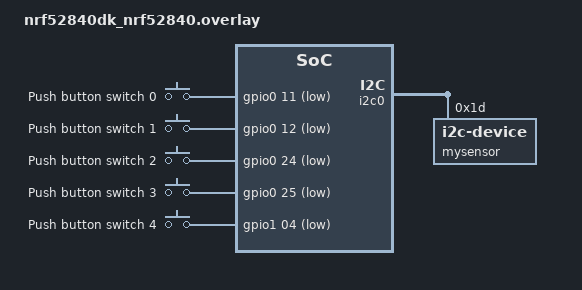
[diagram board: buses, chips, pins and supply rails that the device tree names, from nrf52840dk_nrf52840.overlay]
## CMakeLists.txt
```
#
# Copyright (c) 2019 Nordic Semiconductor ASA
#
# SPDX-License-Identifier: LicenseRef-Nordic-5-Clause
#
cmake_minimum_required(VERSION 3.20.0)

find_package(Zephyr REQUIRED HINTS $ENV{ZEPHYR_BASE})
project(NONE)

FILE(GLOB app_sources src/*.c)
# NORDIC SDK APP START
target_sources(app PRIVATE 
        src/main.c
        src/accelerometer.c)
# NORDIC SDK APP END

zephyr_library_include_directories(${ZEPHYR_BASE}/samples/bluetooth)
```

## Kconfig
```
#
# Copyright (c) 2018 Nordic Semiconductor
#
# SPDX-License-Identifier: LicenseRef-Nordic-5-Clause
#

source "Kconfig.zephyr"

menu "Nordic BLE HIDS Keyboard sample"

config NFC_OOB_PAIRING
	bool "Enable NFC OOB pairing"
	depends on HAS_HW_NRF_NFCT
	default y
	select NFC_T2T_NRFXLIB
	select NFC_NDEF
	select NFC_NDEF_MSG
	select NFC_NDEF_RECORD
	select NFC_NDEF_LE_OOB_REC

endmenu
```

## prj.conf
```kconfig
#
# Copyright (c) 2019 Nordic Semiconductor ASA
#
# SPDX-License-Identifier: LicenseRef-Nordic-5-Clause
#
CONFIG_NCS_SAMPLES_DEFAULTS=y

CONFIG_BT=y
CONFIG_BT_DEBUG_LOG=y
CONFIG_BT_MAX_CONN=2
CONFIG_BT_MAX_PAIRED=2
CONFIG_BT_SMP=y
CONFIG_BT_L2CAP_TX_BUF_COUNT=5
CONFIG_BT_PERIPHERAL=y
CONFIG_BT_DEVICE_NAME="Nordic_HIDS_mouse"
CONFIG_BT_DEVICE_APPEARANCE=962

CONFIG_BT_BAS=y
CONFIG_BT_HIDS=y
CONFIG_BT_HIDS_MAX_CLIENT_COUNT=2
CONFIG_BT_HIDS_DEFAULT_PERM_RW_ENCRYPT=y
CONFIG_BT_GATT_UUID16_POOL_SIZE=40
CONFIG_BT_GATT_CHRC_POOL_SIZE=20

CONFIG_BT_CONN_CTX=y

CONFIG_BT_DIS=y
CONFIG_BT_DIS_PNP=y
CONFIG_BT_DIS_MANUF="NordicSemiconductor"
CONFIG_BT_DIS_PNP_VID_SRC=2
CONFIG_BT_DIS_PNP_VID=0x1915
CONFIG_BT_DIS_PNP_PID=0xEEEE
CONFIG_BT_DIS_PNP_VER=0x0100

CONFIG_MAIN_STACK_SIZE=1536
CONFIG_SYSTEM_WORKQUEUE_STACK_SIZE=2048

CONFIG_BT_SETTINGS=y
CONFIG_FLASH=y
CONFIG_FLASH_PAGE_LAYOUT=y
CONFIG_FLASH_MAP=y
CONFIG_NVS=y
CONFIG_SETTINGS=y

CONFIG_DK_LIBRARY=y

# Additional setting for nRF5340 when building with CONFIG_BT_RPC_STACK=y
CONFIG_NRF_RPC_THREAD_STACK_SIZE=1280
# STEP 2 - Enable the I2C driver
CONFIG_I2C=y
# STEP 4.2 - Enable floating point format specifiers
CONFIG_CBPRINTF_FP_SUPPORT=y
```

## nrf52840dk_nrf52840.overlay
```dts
// To get started, press Ctrl+Space to bring up the completion menu and view the available nodes.

// You can also use the buttons in the sidebar to perform actions on nodes.
// Actions currently available include:

// * Enabling / disabling the node
// * Adding the bus to a bus
// * Removing the node
// * Connecting ADC channels

// For more help, browse the DeviceTree documentation at https://docs.zephyrproject.org/latest/guides/dts/index.html
// You can also visit the nRF DeviceTree extension documentation at https://nrfconnect.github.io/vscode-nrf-connect/devicetree/nrfdevicetree.html
&i2c0 {
    
    mysensor: mysensor@4a{
        compatible = "i2c-device";
        status = "okay";
        reg = < 0x1d >;
    };
};


/ {
    buttons {
        compatible = "gpio-keys";
        button0: button_0 {
            gpios = <&gpio0 11 ( GPIO_PULL_UP |GPIO_ACTIVE_LOW )>;
            label = "Push button switch 0";
        };
        button1: button_1 {
            gpios = <&gpio0 12 (GPIO_PULL_UP | GPIO_ACTIVE_LOW)>;
            label = "Push button switch 1";
        };
        button2: button_2 {
            gpios = <&gpio0  24 (GPIO_PULL_UP | GPIO_ACTIVE_LOW)>;
            label = "Push button switch 2";
        };
        button3: button_3 {
            gpios = <&gpio0 25 (GPIO_PULL_UP | GPIO_ACTIVE_LOW)>;
            label = "Push button switch 3";
        };
    };

    keypad {
        compatible = "gpio-keys";
        button4: button_4 {
            gpios = <&gpio1 04 (GPIO_PULL_UP | GPIO_ACTIVE_LOW)>;
            label = "Push button switch 4";
        };
    };
    /* These aliases are provided for compatibility with samples */
    aliases {
        led0 = &led0;
        led1 = &led1;
        led2 = &led2;
        led3 = &led3;
        pwm-led0 = &pwm_led0;
        sw0 = &button0;
        sw1 = &button1;
        sw2 = &button2;
        sw3 = &button3;
        sw4 = &button4;
        bootloader-led0 = &led0;
        mcuboot-button0 = &button0;
        mcuboot-led0 = &led0;
        watchdog0 = &wdt0;
        spi-flash0 = &mx25r64;
    };
};
```

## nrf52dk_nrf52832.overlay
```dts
// To get started, press Ctrl+Space to bring up the completion menu and view the available nodes.

// You can also use the buttons in the sidebar to perform actions on nodes.
// Actions currently available include:

// * Enabling / disabling the node
// * Adding the bus to a bus
// * Removing the node
// * Connecting ADC channels

// For more help, browse the DeviceTree documentation at https://docs.zephyrproject.org/latest/guides/dts/index.html
// You can also visit the nRF DeviceTree extension documentation at https://nrfconnect.github.io/vscode-nrf-connect/devicetree/nrfdevicetree.html
&i2c0 {
    
    mysensor: mysensor@4a{
        compatible = "i2c-device";
        status = "okay";
        reg = < 0x1d >;
    };
};
```

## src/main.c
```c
/*
 * Copyright (c) 2018 Nordic Semiconductor ASA
 *
 * SPDX-License-Identifier: LicenseRef-Nordic-5-Clause
 */

#include <zephyr/types.h>
#include <stddef.h>
#include <string.h>
#include <errno.h>
#include <zephyr/sys/printk.h>
#include <zephyr/sys/byteorder.h>
#include <zephyr/kernel.h>
#include <zephyr/drivers/gpio.h>
#include <soc.h>
#include <assert.h>

#include <zephyr/settings/settings.h>

#include <zephyr/bluetooth/bluetooth.h>
#include <zephyr/bluetooth/hci.h>
#include <zephyr/bluetooth/conn.h>
#include <zephyr/bluetooth/uuid.h>
#include <zephyr/bluetooth/gatt.h>

#include <zephyr/bluetooth/services/bas.h>
#include <bluetooth/services/hids.h>
#include <zephyr/bluetooth/services/dis.h>
#include <dk_buttons_and_leds.h>
#include <stdlib.h>

#define DEVICE_NAME CONFIG_BT_DEVICE_NAME
#define DEVICE_NAME_LEN (sizeof(DEVICE_NAME) - 1)

#define BASE_USB_HID_SPEC_VERSION 0x0101

/* Number of pixels by which the cursor is moved when a button is pushed. */
#define MOVEMENT_SPEED 5
/* Number of input reports in this application. */
#define INPUT_REPORT_COUNT 3
/* Length of Mouse Input Report containing button data. */
#define INPUT_REP_BUTTONS_LEN 3
/* Length of Mouse Input Report containing movement data. */
#define INPUT_REP_MOVEMENT_LEN 3
/* Length of Mouse Input Report containing media player data. */
#define INPUT_REP_MEDIA_PLAYER_LEN 1
/* Index of Mouse Input Report containing button data. */
#define INPUT_REP_BUTTONS_INDEX 0
/* Index of Mouse Input Report containing movement data. */
#define INPUT_REP_MOVEMENT_INDEX 1
/* Index of Mouse Input Report containing media player data. */
#define INPUT_REP_MPLAYER_INDEX 2
/* Id of reference to Mouse Input Report containing button data. */
#define INPUT_REP_REF_BUTTONS_ID 1
/* Id of reference to Mouse Input Report containing movement data. */
#define INPUT_REP_REF_MOVEMENT_ID 2
/* Id of reference to Mouse Input Report containing media player data. */
#define INPUT_REP_REF_MPLAYER_ID 3

/* HIDs queue size. */
#define HIDS_QUEUE_SIZE 100

/* Key used to move cursor left */
#define KEY_LEFT_MASK DK_BTN1_MSK
/* Key used to move cursor up */
#define KEY_UP_MASK DK_BTN2_MSK
/* Key used to move cursor right */
#define KEY_RIGHT_MASK DK_BTN3_MSK
/* Key used to move cursor down */
#define KEY_DOWN_MASK DK_BTN4_MSK

/* Key used to accept or reject passkey value */
#define KEY_PAIRING_ACCEPT DK_BTN1_MSK
#define KEY_PAIRING_REJECT DK_BTN2_MSK

uint16_t x_axis;
uint16_t y_axis;

uint16_t x_value;
uint16_t y_value;

bool right;
bool left;
bool up;
bool down;

// extern int flag ;
int16_t x_val_def;
int16_t y_val_def;



/* HIDS instance. */
BT_HIDS_DEF(hids_obj,
			INPUT_REP_BUTTONS_LEN,
			INPUT_REP_MOVEMENT_LEN,
			INPUT_REP_MEDIA_PLAYER_LEN);

static struct k_work hids_work;
struct mouse_pos
{
	int16_t x_val;
	int16_t y_val;
};

/* Mouse movement queue. */
K_MSGQ_DEFINE(hids_queue,
			  sizeof(struct mouse_pos),
			  HIDS_QUEUE_SIZE,
			  4);

#if CONFIG_BT_DIRECTED_ADVERTISING
/* Bonded address queue. */
K_MSGQ_DEFINE(bonds_queue,
			  sizeof(bt_addr_le_t),
			  CONFIG_BT_MAX_PAIRED,
			  4);
#endif

static const struct bt_data ad[] = {
	BT_DATA_BYTES(BT_DATA_GAP_APPEARANCE,
				  (CONFIG_BT_DEVICE_APPEARANCE >> 0) & 0xff,
				  (CONFIG_BT_DEVICE_APPEARANCE >> 8) & 0xff),
	BT_DATA_BYTES(BT_DATA_FLAGS, (BT_LE_AD_GENERAL | BT_LE_AD_NO_BREDR)),
	BT_DATA_BYTES(BT_DATA_UUID16_ALL, BT_UUID_16_ENCODE(BT_UUID_HIDS_VAL),
				  BT_UUID_16_ENCODE(BT_UUID_BAS_VAL)),
};

static const struct bt_data sd[] = {
	BT_DATA(BT_DATA_NAME_COMPLETE, DEVICE_NAME, DEVICE_NAME_LEN),
};

static struct conn_mode
{
	struct bt_conn *conn;
	bool in_boot_mode;
} conn_mode[CONFIG_BT_HIDS_MAX_CLIENT_COUNT];

static struct k_work adv_work;

static struct k_work pairing_work;
struct pairing_data_mitm
{
	struct bt_conn *conn;
	unsigned int passkey;
};

K_MSGQ_DEFINE(mitm_queue,
			  sizeof(struct pairing_data_mitm),
			  CONFIG_BT_HIDS_MAX_CLIENT_COUNT,
			  4);

#if CONFIG_BT_DIRECTED_ADVERTISING
static void bond_find(const struct bt_bond_info *info, void *user_data)
{
	int err;

	/* Filter already connected peers. */
	for (size_t i = 0; i < CONFIG_BT_HIDS_MAX_CLIENT_COUNT; i++)
	{
		if (conn_mode[i].conn)
		{
			const bt_addr_le_t *dst =
				bt_conn_get_dst(conn_mode[i].conn);

			if (!bt_addr_le_cmp(&info->addr, dst))
			{
				return;
			}
		}
	}

	err = k_msgq_put(&bonds_queue, (void *)&info->addr, K_NO_WAIT);
	if (err)
	{
		printk("No space in the queue for the bond.\n");
	}
}
#endif

static void advertising_continue(void)
{
	struct bt_le_adv_param adv_param;

#if CONFIG_BT_DIRECTED_ADVERTISING
	bt_addr_le_t addr;

	if (!k_msgq_get(&bonds_queue, &addr, K_NO_WAIT))
	{
		char addr_buf[BT_ADDR_LE_STR_LEN];

		adv_param = *BT_LE_ADV_CONN_DIR(&addr);
		adv_param.options |= BT_LE_ADV_OPT_DIR_ADDR_RPA;

		int err = bt_le_adv_start(&adv_param, NULL, 0, NULL, 0);

		if (err)
		{
			printk("Directed advertising failed to start\n");
			return;
		}

		bt_addr_le_to_str(&addr, addr_buf, BT_ADDR_LE_STR_LEN);
		printk("Direct advertising to %s started\n", addr_buf);
	}
	else
#endif
	{
		int err;

		adv_param = *BT_LE_ADV_CONN;
		adv_param.options |= BT_LE_ADV_OPT_ONE_TIME;
		err = bt_le_adv_start(&adv_param, ad, ARRAY_SIZE(ad),
							  sd, ARRAY_SIZE(sd));
		if (err)
		{
			printk("Advertising failed to start (err %d)\n", err);
			return;
		}

		printk("Regular advertising started\n");
	}
}

static void advertising_start(void)
{
#if CONFIG_BT_DIRECTED_ADVERTISING
	k_msgq_purge(&bonds_queue);
	bt_foreach_bond(BT_ID_DEFAULT, bond_find, NULL);
#endif

	k_work_submit(&adv_work);
}

static void advertising_process(struct k_work *work)
{
	advertising_continue();
}

static void pairing_process(struct k_work *work)
{
	int err;
	struct pairing_data_mitm pairing_data;

	char addr[BT_ADDR_LE_STR_LEN];

	err = k_msgq_peek(&mitm_queue, &pairing_data);
	if (err)
	{
		return;
	}

	bt_addr_le_to_str(bt_conn_get_dst(pairing_data.conn),
					  addr, sizeof(addr));

	printk("Passkey for %s: %06u\n", addr, pairing_data.passkey);
	printk("Press Button 1 to confirm, Button 2 to reject.\n");
}

static void insert_conn_object(struct bt_conn *conn)
{
	for (size_t i = 0; i < CONFIG_BT_HIDS_MAX_CLIENT_COUNT; i++)
	{
		if (!conn_mode[i].conn)
		{
			conn_mode[i].conn = conn;
			conn_mode[i].in_boot_mode = false;

			return;
		}
	}

	printk("Connection object could not be inserted %p\n", conn);
}

static bool is_conn_slot_free(void)
{
	for (size_t i = 0; i < CONFIG_BT_HIDS_MAX_CLIENT_COUNT; i++)
	{
		if (!conn_mode[i].conn)
		{
			return true;
		}
	}

	return false;
}

static void connected(struct bt_conn *conn, uint8_t err)
{
	char addr[BT_ADDR_LE_STR_LEN];

	bt_addr_le_to_str(bt_conn_get_dst(conn), addr, sizeof(addr));

	if (err)
	{
		if (err == BT_HCI_ERR_ADV_TIMEOUT)
		{
			printk("Direct advertising to %s timed out\n", addr);
			k_work_submit(&adv_work);
		}
		else
		{
			printk("Failed to connect to %s (%u)\n", addr, err);
		}
		return;
	}

	printk("Connected %s\n", addr);

	err = bt_hids_connected(&hids_obj, conn);

	if (err)
	{
		printk("Failed to notify HID service about connection\n");
		return;
	}

	insert_conn_object(conn);

	if (is_conn_slot_free())
	{
		advertising_start();
	}
}

static void disconnected(struct bt_conn *conn, uint8_t reason)
{
	int err;
	char addr[BT_ADDR_LE_STR_LEN];

	bt_addr_le_to_str(bt_conn_get_dst(conn), addr, sizeof(addr));

	printk("Disconnected from %s (reason %u)\n", addr, reason);

	err = bt_hids_disconnected(&hids_obj, conn);

	if (err)
	{
		printk("Failed to notify HID service about disconnection\n");
	}

	for (size_t i = 0; i < CONFIG_BT_HIDS_MAX_CLIENT_COUNT; i++)
	{
		if (conn_mode[i].conn == conn)
		{
			conn_mode[i].conn = NULL;
			break;
		}
	}

	advertising_start();
}

#ifdef CONFIG_BT_HIDS_SECURITY_ENABLED
static void security_changed(struct bt_conn *conn, bt_security_t level,
							 enum bt_security_err err)
{
	char addr[BT_ADDR_LE_STR_LEN];

	bt_addr_le_to_str(bt_conn_get_dst(conn), addr, sizeof(addr));

	if (!err)
	{
		printk("Security changed: %s level %u\n", addr, level);
	}
	else
	{
		printk("Security failed: %s level %u err %d\n", addr, level,
			   err);
	}
}
#endif

BT_CONN_CB_DEFINE(conn_callbacks) = {
	.connected = connected,
	.disconnected = disconnected,
#ifdef CONFIG_BT_HIDS_SECURITY_ENABLED
	.security_changed = security_changed,
#endif
};

static void hids_pm_evt_handler(enum bt_hids_pm_evt evt,
								struct bt_conn *conn)
{
	char addr[BT_ADDR_LE_STR_LEN];
	size_t i;

	for (i = 0; i < CONFIG_BT_HIDS_MAX_CLIENT_COUNT; i++)
	{
		if (conn_mode[i].conn == conn)
		{
			break;
		}
	}

	if (i >= CONFIG_BT_HIDS_MAX_CLIENT_COUNT)
	{
		return;
	}

	bt_addr_le_to_str(bt_conn_get_dst(conn), addr, sizeof(addr));

	switch (evt)
	{
	case BT_HIDS_PM_EVT_BOOT_MODE_ENTERED:
		printk("Boot mode entered %s\n", addr);
		conn_mode[i].in_boot_mode = true;
		break;

	case BT_HIDS_PM_EVT_REPORT_MODE_ENTERED:
		printk("Report mode entered %s\n", addr);
		conn_mode[i].in_boot_mode = false;
		break;

	default:
		break;
	}
}

static void hid_init(void)
{
	int err;
	struct bt_hids_init_param hids_init_param = {0};
	struct bt_hids_inp_rep *hids_inp_rep;
	static const uint8_t mouse_movement_mask[ceiling_fraction(INPUT_REP_MOVEMENT_LEN, 8)] = {0};

	static const uint8_t report_map[] = {
		0x05, 0x01, /* Usage Page (Generic Desktop) */
		0x09, 0x02, /* Usage (Mouse) */

		0xA1, 0x01, /* Collection (Application) */

		/* Report ID 1: Mouse buttons + scroll/pan */
		0x85, 0x01,		  /* Report Id 1 */
		0x09, 0x01,		  /* Usage (Pointer) */
		0xA1, 0x00,		  /* Collection (Physical) */
		0x95, 0x05,		  /* Report Count (3) */
		0x75, 0x01,		  /* Report Size (1) */
		0x05, 0x09,		  /* Usage Page (Buttons) */
		0x19, 0x01,		  /* Usage Minimum (01) */
		0x29, 0x05,		  /* Usage Maximum (05) */
		0x15, 0x00,		  /* Logical Minimum (0) */
		0x25, 0x01,		  /* Logical Maximum (1) */
		0x81, 0x02,		  /* Input (Data, Variable, Absolute) */
		0x95, 0x01,		  /* Report Count (1) */
		0x75, 0x03,		  /* Report Size (3) */
		0x81, 0x01,		  /* Input (Constant) for padding */
		0x75, 0x08,		  /* Report Size (8) */
		0x95, 0x01,		  /* Report Count (1) */
		0x05, 0x01,		  /* Usage Page (Generic Desktop) */
		0x09, 0x38,		  /* Usage (Wheel) */
		0x15, 0x81,		  /* Logical Minimum (-127) */
		0x25, 0x7F,		  /* Logical Maximum (127) */
		0x81, 0x06,		  /* Input (Data, Variable, Relative) */
		0x05, 0x0C,		  /* Usage Page (Consumer) */
		0x0A, 0x38, 0x02, /* Usage (AC Pan) */
		0x95, 0x01,		  /* Report Count (1) */
		0x81, 0x06,		  /* Input (Data,Value,Relative,Bit Field) */
		0xC0,			  /* End Collection (Physical) */

		/* Report ID 2: Mouse motion */
		0x85, 0x02,		  /* Report Id 2 */
		0x09, 0x01,		  /* Usage (Pointer) */
		0xA1, 0x00,		  /* Collection (Physical) */
		0x75, 0x0C,		  /* Report Size (12) */
		0x95, 0x02,		  /* Report Count (2) */
		0x05, 0x01,		  /* Usage Page (Generic Desktop) */
		0x09, 0x30,		  /* Usage (X) */
		0x09, 0x31,		  /* Usage (Y) */
		0x16, 0x01, 0xF8, /* Logical maximum (2047) */
		0x26, 0xFF, 0x07, /* Logical minimum (-2047) */
		0x81, 0x06,		  /* Input (Data, Variable, Relative) */
		0xC0,			  /* End Collection (Physical) */
		0xC0,			  /* End Collection (Application) */

		/* Report ID 3: Advanced buttons */
		0x05, 0x0C, /* Usage Page (Consumer) */
		0x09, 0x01, /* Usage (Consumer Control) */
		0xA1, 0x01, /* Collection (Application) */
		0x85, 0x03, /* Report Id (3) */
		0x15, 0x00, /* Logical minimum (0) */
		0x25, 0x01, /* Logical maximum (1) */
		0x75, 0x01, /* Report Size (1) */
		0x95, 0x01, /* Report Count (1) */

		0x09, 0xCD,		  /* Usage (Play/Pause) */
		0x81, 0x06,		  /* Input (Data,Value,Relative,Bit Field) */
		0x0A, 0x83, 0x01, /* Usage (Consumer Control Configuration) */
		0x81, 0x06,		  /* Input (Data,Value,Relative,Bit Field) */
		0x09, 0xB5,		  /* Usage (Scan Next Track) */
		0x81, 0x06,		  /* Input (Data,Value,Relative,Bit Field) */
		0x09, 0xB6,		  /* Usage (Scan Previous Track) */
		0x81, 0x06,		  /* Input (Data,Value,Relative,Bit Field) */

		0x09, 0xEA,		  /* Usage (Volume Down) */
		0x81, 0x06,		  /* Input (Data,Value,Relative,Bit Field) */
		0x09, 0xE9,		  /* Usage (Volume Up) */
		0x81, 0x06,		  /* Input (Data,Value,Relative,Bit Field) */
		0x0A, 0x25, 0x02, /* Usage (AC Forward) */
		0x81, 0x06,		  /* Input (Data,Value,Relative,Bit Field) */
		0x0A, 0x24, 0x02, /* Usage (AC Back) */
		0x81, 0x06,		  /* Input (Data,Value,Relative,Bit Field) */
		0xC0			  /* End Collection */
	};

	hids_init_param.rep_map.data = report_map;
	hids_init_param.rep_map.size = sizeof(report_map);

	hids_init_param.info.bcd_hid = BASE_USB_HID_SPEC_VERSION;
	hids_init_param.info.b_country_code = 0x00;
	hids_init_param.info.flags = (BT_HIDS_REMOTE_WAKE |
								  BT_HIDS_NORMALLY_CONNECTABLE);

	hids_inp_rep = &hids_init_param.inp_rep_group_init.reports[0];
	hids_inp_rep->size = INPUT_REP_BUTTONS_LEN;
	hids_inp_rep->id = INPUT_REP_REF_BUTTONS_ID;
	hids_init_param.inp_rep_group_init.cnt++;

	hids_inp_rep++;
	hids_inp_rep->size = INPUT_REP_MOVEMENT_LEN;
	hids_inp_rep->id = INPUT_REP_REF_MOVEMENT_ID;
	hids_inp_rep->rep_mask = mouse_movement_mask;
	hids_init_param.inp_rep_group_init.cnt++;

	hids_inp_rep++;
	hids_inp_rep->size = INPUT_REP_MEDIA_PLAYER_LEN;
	hids_inp_rep->id = INPUT_REP_REF_MPLAYER_ID;
	hids_init_param.inp_rep_group_init.cnt++;

	hids_init_param.is_mouse = true;
	hids_init_param.pm_evt_handler = hids_pm_evt_handler;

	err = bt_hids_init(&hids_obj, &hids_init_param);
	__ASSERT(err == 0, "HIDS initialization failed\n");
}

static void mouse_movement_send(int16_t x_delta, int16_t y_delta)
{
	for (size_t i = 0; i < CONFIG_BT_HIDS_MAX_CLIENT_COUNT; i++)
	{

		if (!conn_mode[i].conn)
		{
			continue;
		}

		if (conn_mode[i].in_boot_mode)
		{
			x_delta = MAX(MIN(x_delta, SCHAR_MAX), SCHAR_MIN);
			y_delta = MAX(MIN(y_delta, SCHAR_MAX), SCHAR_MIN);
			// printk("x_delta : %d  y_delta : %d \n",x_delta,y_delta);

			bt_hids_boot_mouse_inp_rep_send(&hids_obj,
											conn_mode[i].conn,
											NULL,
											(int8_t)x_delta,
											(int8_t)y_delta,
											NULL);
		}
		else
		{
			uint8_t x_buff[2];
			uint8_t y_buff[2];
			uint8_t buffer[INPUT_REP_MOVEMENT_LEN];

			int16_t x = MAX(MIN(x_delta, 0x07ff), -0x07ff);
			int16_t y = MAX(MIN(y_delta, 0x07ff), -0x07ff);
			// printk("x_delta : %d  y_delta : %d \n",x,y);

			/* Convert to little-endian. */
			sys_put_le16(x, x_buff);
			sys_put_le16(y, y_buff);

			/* Encode report. */
			BUILD_ASSERT(sizeof(buffer) == 3,
						 "Only 2 axis, 12-bit each, are supported");

			buffer[0] = x_buff[0];
			buffer[1] = (y_buff[0] << 4) | (x_buff[1] & 0x0f);
			buffer[2] = (y_buff[1] << 4) | (y_buff[0] >> 4);
			

			bt_hids_inp_rep_send(&hids_obj, conn_mode[i].conn,
								 INPUT_REP_MOVEMENT_INDEX,
								 buffer, sizeof(buffer), NULL);
		}
	}
}

static void mouse_handler(struct k_work *work)
{
	struct mouse_pos pos;

	while (!k_msgq_get(&hids_queue, &pos, K_NO_WAIT))
	{
		mouse_movement_send(pos.x_val, pos.y_val);
	}
}

#if defined(CONFIG_BT_HIDS_SECURITY_ENABLED)
static void auth_passkey_display(struct bt_conn *conn, unsigned int passkey)
{
	char addr[BT_ADDR_LE_STR_LEN];

	bt_addr_le_to_str(bt_conn_get_dst(conn), addr, sizeof(addr));

	printk("Passkey for %s: %06u\n", addr, passkey);
}

static void auth_passkey_confirm(struct bt_conn *conn, unsigned int passkey)
{
	int err;

	struct pairing_data_mitm pairing_data;

	pairing_data.conn = bt_conn_ref(conn);
	pairing_data.passkey = passkey;

	err = k_msgq_put(&mitm_queue, &pairing_data, K_NO_WAIT);
	if (err)
	{
		printk("Pairing queue is full. Purge previous data.\n");
	}

	/* In the case of multiple pairing requests, trigger
	 * pairing confirmation which needed user interaction only
	 * once to avoid display information about all devices at
	 * the same time. Passkey confirmation for next devices will
	 * be proccess from queue after handling the earlier ones.
	 */
	if (k_msgq_num_used_get(&mitm_queue) == 1)
	{
		k_work_submit(&pairing_work);
	}
}

static void auth_cancel(struct bt_conn *conn)
{
	char addr[BT_ADDR_LE_STR_LEN];

	bt_addr_le_to_str(bt_conn_get_dst(conn), addr, sizeof(addr));

	printk("Pairing cancelled: %s\n", addr);
}

static void pairing_complete(struct bt_conn *conn, bool bonded)
{
	char addr[BT_ADDR_LE_STR_LEN];

	bt_addr_le_to_str(bt_conn_get_dst(conn), addr, sizeof(addr));

	printk("Pairing completed: %s, bonded: %d\n", addr, bonded);
}

static void pairing_failed(struct bt_conn *conn, enum bt_security_err reason)
{
	char addr[BT_ADDR_LE_STR_LEN];
	struct pairing_data_mitm pairing_data;

	if (k_msgq_peek(&mitm_queue, &pairing_data) != 0)
	{
		return;
	}

	if (pairing_data.conn == conn)
	{
		bt_conn_unref(pairing_data.conn);
		k_msgq_get(&mitm_queue, &pairing_data, K_NO_WAIT);
	}

	bt_addr_le_to_str(bt_conn_get_dst(conn), addr, sizeof(addr));

	printk("Pairing failed conn: %s, reason %d\n", addr, reason);
}

static struct bt_conn_auth_cb conn_auth_callbacks = {
	.passkey_display = auth_passkey_display,
	.passkey_confirm = auth_passkey_confirm,
	.cancel = auth_cancel,
};

static struct bt_conn_auth_info_cb conn_auth_info_callbacks = {
	.pairing_complete = pairing_complete,
	.pairing_failed = pairing_failed};
#else
static struct bt_conn_auth_cb conn_auth_callbacks;
static struct bt_conn_auth_info_cb conn_auth_info_callbacks;
#endif /* defined(CONFIG_BT_HIDS_SECURITY_ENABLED) */

static void num_comp_reply(bool accept)
{
	struct pairing_data_mitm pairing_data;
	struct bt_conn *conn;

	if (k_msgq_get(&mitm_queue, &pairing_data, K_NO_WAIT) != 0)
	{
		return;
	}

	conn = pairing_data.conn;

	if (accept)
	{
		bt_conn_auth_passkey_confirm(conn);
		printk("Numeric Match, conn %p\n", conn);
	}
	else
	{
		bt_conn_auth_cancel(conn);
		printk("Numeric Reject, conn %p\n", conn);
	}

	bt_conn_unref(pairing_data.conn);

	if (k_msgq_num_used_get(&mitm_queue))
	{
		k_work_submit(&pairing_work);
	}
}

void button_changed(uint32_t button_state, uint32_t has_changed)
{
	// bool data_to_send = true;
	// struct mouse_pos pos;
	uint32_t buttons = button_state & has_changed;

	// memset(&pos, 0, sizeof(struct mouse_pos));

	if (k_msgq_num_used_get(&mitm_queue))
	{
		if (buttons & KEY_PAIRING_ACCEPT)
		{
			num_comp_reply(true);

			return;
		}

		if (buttons & KEY_PAIRING_REJECT)
		{
			num_comp_reply(false);

			return;
		}
	}

	// if (buttons & KEY_LEFT_MASK) {
	// 	pos.x_val -= MOVEMENT_SPEED;
	// 	printk("%s(): left\n", __func__);
	// 	data_to_send = true;
	// }
	// if (buttons & KEY_UP_MASK) {
	// 	pos.y_val -= MOVEMENT_SPEED;
	// 	printk("%s(): up\n", __func__);
	// 	data_to_send = true;
	// }
	// if (buttons & KEY_RIGHT_MASK) {
	// 	pos.x_val += MOVEMENT_SPEED;
	// 	printk("%s(): right\n", __func__);
	// 	data_to_send = true;
	// }
	// if (buttons & KEY_DOWN_MASK) {
	// 	pos.y_val += MOVEMENT_SPEED;
	// 	printk("%s(): down\n", __func__);
	// 	data_to_send = true;
	// }

	// if (data_to_send) {
	// 	int err;

	// 	err = k_msgq_put(&hids_queue, &pos, K_NO_WAIT);
	// 	if (err) {
	// 		printk("No space in the queue for button pressed\n");
	// 		return;
	// 	}
	// 	if (k_msgq_num_used_get(&hids_queue) == 1) {
	// 		k_work_submit(&hids_work);
	// 	}
	// }
}

// void accelerometer_mouse(uint16_t x_axix,uint16_t y_axix)
// {
// 	bool data_to_send = true;
// 	struct mouse_pos pos;
// 	memset(&pos, 0, sizeof(struct mouse_pos));

// 	if (left) {
// 		pos.x_val -= x_axix;
// 		// printk("%s(): left\n", __func__);
// 		data_to_send = true;
// 	}
// 	if (up) {
// 		pos.y_val -= y_axix;
// 		// printk("%s(): up\n", __func__);
// 		data_to_send = true;
// 	}
// 	if (right) {
// 		pos.x_val += x_axix;
// 		// printk("%s(): right\n", __func__);
// 		data_to_send = true;
// 	}
// 	if (down) {
// 		pos.y_val += y_axix;
// 		// printk("%s(): down\n", __func__);
// 		data_to_send = true;
// 	}

// 	if (data_to_send) {
// 		int err;

// 		err = k_msgq_put(&hids_queue, &pos, K_NO_WAIT);
// 		if (err) {
// 			printk("No space in the queue for button pressed\n");
// 			return;
// 		}
// 		if (k_msgq_num_used_get(&hids_queue) == 1) {
// 			k_work_submit(&hids_work);
// 		}
// 	}
// }

void accelerometer_mouse(uint16_t x_axix, uint16_t y_axix)
{
	bool data_to_send = true;
	struct mouse_pos pos;
	memset(&pos, 0, sizeof(struct mouse_pos));

		static uint16_t prev_x=0, prev_y=0;

	if (prev_x!=x_axix)
	{
		// pos.x_val = (abs(prev_x-x_axix))>20?(prev_x-x_axix)/1.5:0;
		pos.x_val = (prev_x-x_axix)/1.5;
		// x_val_def = abs(prev_x-x_axix);
		// printk("%d: left\n", pos.x_val);
		// if(flag)
		// {
		// 	x_val_def = (prev_x-x_axix)/1.5;
		// 	pos.x_val = x_val_def;
		// 	printk("%d: left\n", pos.x_val);
		// }
		data_to_send = true;
	}
	if (prev_y!=y_axix)
	{
		// pos.y_val = (abs(prev_y-y_axix))>20?(prev_y-y_axix)/1.5:0;
		pos.y_val = (prev_y-y_axix)/1.5;
		// y_val_def = abs(prev_y-y_axix);
		// printk("%d: up\n", pos.y_val);
		// if(flag)
		// {
		// 	y_val_def = (prev_y-y_axix)/1.5;
		// 	pos.y_val = y_val_def;
		// 	printk("%d: up\n", pos.y_val);
		// }
		data_to_send = true;
	}

	//--

	prev_x = x_axix;
	prev_y = y_axix;
		//--

		// if (right) {
		// 	pos.x_val = x_axix;
		// 	printk("%d: right\n", pos.x_val);
		// 	data_to_send = true;
		// }
		// if (down) {
		// 	pos.y_val = y_axix;
		// 	printk("%d: down\n", pos.y_val);
		// 	data_to_send = true;
		// }

		if (data_to_send)
	{
		int err;

		err = k_msgq_put(&hids_queue, &pos, K_NO_WAIT);
		if (err)
		{
			printk("No space in the queue for button pressed\n");
			return;
		}
		if (k_msgq_num_used_get(&hids_queue) == 1)
		{
			k_work_submit(&hids_work);
		}
	}
}

void configure_buttons(void)
{
	int err;

	err = dk_buttons_init(button_changed);
	if (err)
	{
		printk("Cannot init buttons (err: %d)\n", err);
	}
}

static void bas_notify(void)
{
	uint8_t battery_level = bt_bas_get_battery_level();

	battery_level--;

	if (!battery_level)
	{
		battery_level = 100U;
	}

	bt_bas_set_battery_level(battery_level);
}

void main(void)
{
	int err;

	printk("Starting Bluetooth Peripheral HIDS mouse example\n");

	if (IS_ENABLED(CONFIG_BT_HIDS_SECURITY_ENABLED))
	{
		err = bt_conn_auth_cb_register(&conn_auth_callbacks);
		if (err)
		{
			printk("Failed to register authorization callbacks.\n");
			return;
		}

		err = bt_conn_auth_info_cb_register(&conn_auth_info_callbacks);
		if (err)
		{
			printk("Failed to register authorization info callbacks.\n");
			return;
		}
	}

	err = bt_enable(NULL);
	if (err)
	{
		printk("Bluetooth init failed (err %d)\n", err);
		return;
	}

	printk("Bluetooth initialized\n");

	/* DIS initialized at system boot with SYS_INIT macro. */
	hid_init();

	k_work_init(&hids_work, mouse_handler);
	k_work_init(&pairing_work, pairing_process);
	k_work_init(&adv_work, advertising_process);

	if (IS_ENABLED(CONFIG_SETTINGS))
	{
		settings_load();
	}

	advertising_start();

	configure_buttons();
	accelero_main();

	while (1)
	{
		// k_sleep(K_SECONDS(1));
		accele_fun(&x_axis,&y_axis);

		x_value = x_axis;
		y_value = y_axis;
		// if (x_value <= 3000)
		// {
		// x_value = abs(x_value - 4100);
		// }

		// if (y_value <= 3000)
		// {
		// y_value =abs( y_value -4100);
		// }
		// printk("x_value : %d  y_value : %d \n",x_value,y_value);
		mouse_value(&x_value,&y_value);
		// printk("x_value : %d  y_value : %d \n",x_value,y_value);
		accelerometer_mouse(x_value,y_value);
		/* Battery level simulation */
		bas_notify();
		k_sleep(K_MSEC(50));
	}
}
```

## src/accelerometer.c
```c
#include <zephyr/kernel.h>
#include <zephyr/device.h>
#include <zephyr/devicetree.h>
#include <zephyr/drivers/i2c.h>
#include <zephyr/sys/printk.h>
#include <stdlib.h>
#include <zephyr/drivers/gpio.h>

#define MMA8652FC_I2C_ADDR 0x1D
#define OUT_X_MSB 0x01
#define OUT_Y_MSB 0x03
#define FF_MT_CFG 0x15
#define FF_MT_THS 0x17
#define FF_MT_COUNT 0x18
#define CTRL_REG4 0x2D
#define CTRL_REG5 0x2E
#define INT_SOURCE 0x0C
#define CTRL_REG1 0x2a


// extern uint16_t x_axis;
// extern uint16_t y_axis;

extern bool right ;
extern bool left ;
extern bool up ;
extern bool down ;
uint8_t data;
static int flag;
extern int16_t x_val_def;
extern int16_t y_val_def;

#define SW4_NODE  DT_ALIAS(sw4)
static const struct gpio_dt_spec button = GPIO_DT_SPEC_GET(SW4_NODE,gpios);

#define I2C_NODE DT_NODELABEL(mysensor)
static const struct i2c_dt_spec dev_i2c = I2C_DT_SPEC_GET(I2C_NODE);

uint8_t aa_i2c_read(uint8_t slaveAddr, uint8_t regAddr)
{
	uint8_t data;
	i2c_write_read_dt(&dev_i2c, &regAddr, sizeof(regAddr), &data, sizeof(data));
	return data;
}

int aa_i2c_write(uint8_t slaveAddr, uint8_t regAddr, uint8_t regVal)
{
	uint8_t buf[2];

	buf[0] = regAddr;
	buf[1] = regVal;

	return i2c_write_dt(&dev_i2c, buf, sizeof(buf));
}


void interrupt_ocu(const struct device *dev, struct gpio_callback *cb,uint32_t pins)
{

		flag =1;
	
}


static struct gpio_callback button_cb_data;

void accelero_main(void)
{
	int ret;
	
	if (!device_is_ready(dev_i2c.bus))
	{
		printk("I2C bus %s is not ready!\n\r", dev_i2c.bus->name);
		return;
	}


	// if(!device_is_ready(button.port))
	// {
	// 	return;
	// }

	// ret = gpio_pin_configure_dt(&button,GPIO_INPUT);
	// if(ret <0)
	// {
	// 	return;
	// }

	

    

    
	// aa_i2c_write(0x1d,CTRL_REG4, 0x04); // Enable motion detection interrupt on INT1 pin
    // aa_i2c_write(0x1d,CTRL_REG5, 0x04); // Route motion detection interrupt to INT1 pin



	// Configure MMA8652FC for motion detection
    aa_i2c_write(0x1d,CTRL_REG1, 0x00); // Standby mode

	// Configure motion detection axis (X, Y, and Z axes)
    
	aa_i2c_write(0x1d,FF_MT_CFG, 0x58); // Enable detection on all axes
	
	
	// aa_i2c_read(0x1d,0x15);
	


    // Configure motion detection threshold and debounce counter
    aa_i2c_write(0x1d,FF_MT_THS, 0x81); // Set threshold (adjust as needed)
    aa_i2c_write(0x1d,FF_MT_COUNT, 0x00); // Set debounce counter (adjust as needed)


	// aa_i2c_read(0x1d,0x16);

	uint8_t int_source = aa_i2c_read(0x1d,0x16);
		printk("disable : %d \n",int_source);

    // aa_i2c_write(0x1d,0x0e, 0x10); // high_pass

    // Configure interrupt settings
    aa_i2c_write(0x1d,CTRL_REG4, 0x04); // Enable motion detection interrupt on INT1 pin
    aa_i2c_write(0x1d,CTRL_REG5, 0x04); // Route motion detection interrupt to INT1 pin

    aa_i2c_write(0x1d,CTRL_REG1, 0x01); // Active mode





	ret = gpio_pin_interrupt_configure_dt(&button,GPIO_INT_EDGE_TO_ACTIVE);

	gpio_init_callback(&button_cb_data,interrupt_ocu,BIT(button.pin));

	gpio_add_callback(button.port, &button_cb_data);

	// data = aa_i2c_read(0x1d, 0x0D);                //who_iam_register

	// aa_i2c_write(0x1d, 0x2A, 0x01);                // ACTIVE = 0x01

	// data = aa_i2c_read(0x1d, 0x2A);

	// uint8_t int_source = aa_i2c_read(0x1d,INT_SOURCE);

	// Configure interrupt settings
    // aa_i2c_write(0x1d,CTRL_REG4, 0x04); // Enable motion detection interrupt on INT1 pin
    // aa_i2c_write(0x1d,CTRL_REG5, 0x04); // Route motion detection interrupt to INT1 pin
}

// int mouse_value(uint16_t *x_axix,uint16_t *y_axix) 
// {
//     // int x_axix;
//     // int y_axix;
// 	uint16_t x_axix_def = *x_axix;
// 	uint16_t y_axix_def = *y_axix;
// 	// if (x_axix_def <= 48) {
//     //     x_axix_def = x_axix_def - 64;
//     // }

//     // if (y_axix_def <= 48) {
//     //     y_axix_def = y_axix_def - 64;
//     // }
//     static uint16_t x_axis_pre;
//     static uint16_t y_axis_pre;
//     int x_value ;
//     int y_value ;
//     right = false;
//     left = false;
//     up = false;
//     down = false;
    
//     if (x_axix_def >= 0 & x_axix_def <= 1080)
//     {
//         x_value =(int) ( x_axis_pre - x_axix_def);	
//         if(x_value < 0)
//         {
//             left = true;
//             x_value *= -1 ;
// 			// printk("x_value : %d  y_value : %d \n",x_value,y_axix_def);
//         }
//         else if (x_value>0)
//         {
//             right = true;
//         }
        
//     }


//     if (x_axix_def >= 3200 & x_axix_def <= 4100)
//     {
//         x_value = (int)( x_axis_pre - x_axix_def)  ;
// 		// printk("x_value : %d  y_value : %d \n",x_value,y_axix_def);
//         if(x_value < 0)
//         {
//             left = true;
//             x_value *= -1 ;
			
//         }
//         else if (x_value>0)
//         {
//             right = true;
//         }
        
//     }

    
//     if (y_axix_def >= 3020 & y_axix_def <= 4100)
//     {
//         y_value =  (int)(y_axis_pre - y_axix_def);
//         if(y_value < 0)
//         {
//             up = true;
//             y_value *= -1 ;
// 			// printk("x_value : %d  y_value : %d \n",x_value,y_value);
//         }
//         else if (y_value>0)
//         {
//             down = true;
//         }
        
//     }
//     if (y_axix_def >= 0 & y_axix_def <= 1080)
//     {
//         y_value = (int) (y_axis_pre - y_axix_def);
//         if(y_value < 0)
//         {
//             up = true;
//             y_value *= -1 ;
//         }
//         else if (y_value>0)
//         {
//             down = true;
//         }
        
//     }
//     x_axis_pre=*x_axix;
//     y_axis_pre=*y_axix;
// 	*x_axix = (uint16_t)x_value;
// 	*y_axix = (uint16_t)y_value;
// 	// printk("x_value : %d  y_value : %d \n",*x_axix,*y_axix);
// }


int mouse_value(uint16_t *x_axix,uint16_t *y_axix) 
{
    int x_axis_def = (int)*x_axix;
    int y_axis_def = (int)*y_axix;
    int x_value;
    int y_value;
    if (x_axis_def >=0 & x_axis_def <= 1080)
    {
        x_value= abs((x_axis_def/2)-540);
        left = true;
    }
    if(x_axis_def >=3020 & x_axis_def <=4100)
    {
        x_value = (((abs(x_axis_def-4100))/2)+540);
        left = true;
    }
    if (y_axis_def >=0 & y_axis_def <= 1080)
    {
        y_value= abs((y_axis_def/2)-540);
        up = true;
    }
    if(y_axis_def >=3020 & y_axis_def <=4100)
    {
        y_value = (((abs(y_axis_def-4100))/2)+540);
        up = true;
        
    }
    *x_axix= (uint16_t)x_value;
    *y_axix= (uint16_t)y_value;
	// printk("x_value : %d  y_value : %d \n",*x_axix,*y_axix);
}

int accele_fun(uint16_t *x_axis,uint16_t *y_axis) {

		// uint8_t int_source = aa_i2c_read(0x1d,INT_SOURCE);
		// printk("int_source : %d \n",int_source);
		

	
	if(flag)
	{
		 
		/* X Offset MSB */
		data = aa_i2c_read(0x1d, 0x01);                     // OUT_X_MSB(1)(2) = 0X01
		*x_axis = (data << 4);

		/* X Offset LSB */
		data = (aa_i2c_read(0x1d, 0x02)>>4);                     // OUT_X_LSB(1)(2) = 0X02
		*x_axis |= data;

		/* Y Offset MSB */
		data = aa_i2c_read(0x1d, 0x03);                     // OUT_Y_MSB(1)(2) = 0X03
		*y_axis = (data << 4);

		/* Y Offset LSB */
		data = (aa_i2c_read(0x1d, 0x04)>>4);                     // OUT_Y_LSB(1)(2) = 0X04
		*y_axis |= data ;

		// /* Z Offset MSB */
		// data = aa_i2c_read(0x1d, 0x05);                     // OUT_Z_MSB(1)(2) = 0X05
		// uint16_t zoff = (data << 8);

		// /* Z Offset LSB */
		// data = aa_i2c_read(0x1d, 0x06);                     // OUT_Z_LSB(1)(2) = 0X06
		// zoff |= data;

		printf("XOFF: %d YOFF: %d    \n", *x_axis, *y_axis);
		// k_sleep(K_MSEC(500));

// uint8_t int_source = aa_i2c_read(0x1d,0x16);
		
// 	printk("disable : %d \n",int_source);
	
	
		// uint16_t disable =aa_i2c_read(0x1d,0x16);
		// int_source = aa_i2c_read(0x1d,INT_SOURCE);
		// printk("disable : %d \n",int_source);
		// aa_i2c_read(0x1d,0x16);
		// uint8_t int_source = aa_i2c_read(0x1d,INT_SOURCE);
		// printk("disable : %d \n",int_source);
		flag =0;
		

		
	}
	}
```

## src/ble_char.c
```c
#include "ble_char.h"
#include <stddef.h>
#include <string.h>
#include <errno.h>
#include <zephyr/sys/printk.h>
#include <zephyr/sys/byteorder.h>
#include <zephyr/kernel.h>

#include <zephyr/bluetooth/bluetooth.h>
#include <zephyr/bluetooth/hci.h>
#include <zephyr/bluetooth/conn.h>
#include <zephyr/bluetooth/uuid.h>
#include <zephyr/bluetooth/gatt.h>
#include <zephyr/drivers/gpio.h>
#include <dk_buttons_and_leds.h>
extern int cTemp;
extern int humidity;
extern int ble_temp;
extern int ble_hum;
extern int timer_val;
extern struct k_timer tcp_timer;

int cdata;
int blue;
int red;
int green;

extern int dac_value;
char dac_output[4];


static bool temp_notify_enabled;
static void temp_ccc_cfg_changed(const struct bt_gatt_attr *attr,
                                    uint16_t value)
{
    temp_notify_enabled = (value == BT_GATT_CCC_NOTIFY);
}

static bool hum_notify_enabled;
static void hum_ccc_cfg_changed(const struct bt_gatt_attr *attr,
                                    uint16_t value)
{
    hum_notify_enabled = (value == BT_GATT_CCC_NOTIFY);
}

static bool red_notify_enabled;
static void red_ccc_cfg_changed(const struct bt_gatt_attr *attr,
                                    uint16_t value)
{
    red_notify_enabled = (value == BT_GATT_CCC_NOTIFY);
}

static bool blue_notify_enabled;
static void blue_ccc_cfg_changed(const struct bt_gatt_attr *attr,
                                    uint16_t value)
{
    blue_notify_enabled = (value == BT_GATT_CCC_NOTIFY);
}

static bool green_notify_enabled;
static void green_ccc_cfg_changed(const struct bt_gatt_attr *attr,
                                    uint16_t value)
{
    green_notify_enabled = (value == BT_GATT_CCC_NOTIFY);
}

static bool clear_notify_enabled;
static void clear_ccc_cfg_changed(const struct bt_gatt_attr *attr,
                                    uint16_t value)
{
    clear_notify_enabled = (value == BT_GATT_CCC_NOTIFY);
}



static ssize_t ble_rd(struct bt_conn *conn,
                      const struct bt_gatt_attr *attr,
                      void *buff,
                      uint16_t len,
                      uint16_t offset)
{
    const char *value = attr->user_data;



    return bt_gatt_attr_read(conn, attr, buff, len, offset, attr->user_data, sizeof(attr->user_data));
}

static ssize_t ble_wr(struct bt_conn *conn,
                      const struct bt_gatt_attr *attr,
                      void *buff,
                      uint16_t len,
                      uint16_t offset)
{
    const char *value = attr->user_data;
    printk("led write is done : %s\n", buff);

   
}

static ssize_t ble_wr_tr(struct bt_conn *conn,
                      const struct bt_gatt_attr *attr,
                      void *buff,
                      uint16_t len,
                      uint16_t offset)

{
    uint8_t *buffer;
          buffer = buff;

    timer_val = *buffer;
   
    const char *value = attr->user_data;
    printk("timer value : %d\n",timer_val );
    k_timer_start(&tcp_timer, K_SECONDS(0), K_SECONDS(timer_val));


   
}


static ssize_t dac_wr(struct bt_conn *conn,
                      const struct bt_gatt_attr *attr,
                      void *buff,
                      uint16_t len,
                      uint16_t offset)

{
    uint8_t *buffer;
          buffer = buff;

     dac_value = *buffer;
    // memcpy(&dac_value, buffer, sizeof(float));
    //  float *floatPtr = (float *)buffer;
    // dac_value = *floatPtr;
    // union {
    //     uint8_t bytes[sizeof(float)];
    //     float value;
    // } data;

    // memcpy(data.bytes, buffer, sizeof(float));
    // dac_value = data.value;
   
    const char *value = attr->user_data;
    printk("dac_value : %f\n",dac_value );
   

   
}


/*characteristic for temperature and huminity*/

BT_GATT_SERVICE_DEFINE(ess_svc,
                       BT_GATT_PRIMARY_SERVICE(ESS_UUID_BASE),
                       BT_GATT_CHARACTERISTIC(BT_UUID_TEMPERATURE,
                                              BT_GATT_CHRC_READ | BT_GATT_CHRC_WRITE | BT_GATT_CHRC_NOTIFY,
                                              BT_GATT_PERM_READ | BT_GATT_PERM_WRITE,
                                              ble_rd, ble_wr, &ble_temp),
                       BT_GATT_CCC(temp_ccc_cfg_changed,
                                   BT_GATT_PERM_READ | BT_GATT_PERM_WRITE),
                       BT_GATT_CHARACTERISTIC(BT_UUID_HUMIDITY,
                                              BT_GATT_CHRC_READ | BT_GATT_CHRC_WRITE | BT_GATT_CHRC_NOTIFY,
                                              BT_GATT_PERM_READ | BT_GATT_PERM_WRITE,
                                              ble_rd, ble_wr, &ble_hum),
                       BT_GATT_CCC(hum_ccc_cfg_changed,
                                   BT_GATT_PERM_READ | BT_GATT_PERM_WRITE), 
                        BT_GATT_CHARACTERISTIC(BT_UUID_TIMER,
                                              BT_GATT_CHRC_READ | BT_GATT_CHRC_WRITE ,
                                              BT_GATT_PERM_READ | BT_GATT_PERM_WRITE,
                                              ble_rd, ble_wr_tr, &timer_val),);


/*characteristic for colour sensor*/
BT_GATT_SERVICE_DEFINE(colour_sensor,
                       BT_GATT_PRIMARY_SERVICE(BT_COLUR_UUID_BASE),
                       BT_GATT_CHARACTERISTIC(BT_UUID_RED,
                                              BT_GATT_CHRC_READ | BT_GATT_CHRC_WRITE | BT_GATT_CHRC_NOTIFY,
                                              BT_GATT_PERM_READ | BT_GATT_PERM_WRITE,
                                              ble_rd, ble_wr, &red),
                       BT_GATT_CCC(red_ccc_cfg_changed,
                                   BT_GATT_PERM_READ | BT_GATT_PERM_WRITE),
                        BT_GATT_CHARACTERISTIC(BT_UUID_BLUE_V,
                                              BT_GATT_CHRC_READ | BT_GATT_CHRC_WRITE | BT_GATT_CHRC_NOTIFY,
                                              BT_GATT_PERM_READ | BT_GATT_PERM_WRITE,
                                              ble_rd, ble_wr, &blue),
                        BT_GATT_CCC(blue_ccc_cfg_changed,
                                   BT_GATT_PERM_READ | BT_GATT_PERM_WRITE),
                       BT_GATT_CHARACTERISTIC(BT_UUID_GREEN_V,
                                              BT_GATT_CHRC_READ | BT_GATT_CHRC_WRITE | BT_GATT_CHRC_NOTIFY,
                                              BT_GATT_PERM_READ | BT_GATT_PERM_WRITE,
                                              ble_rd, ble_wr, &green),
                       BT_GATT_CCC(green_ccc_cfg_changed,
                                   BT_GATT_PERM_READ | BT_GATT_PERM_WRITE),
                       BT_GATT_CHARACTERISTIC(BT_UUID_CLEAR_V,
                                              BT_GATT_CHRC_READ | BT_GATT_CHRC_WRITE | BT_GATT_CHRC_NOTIFY,
                                              BT_GATT_PERM_READ | BT_GATT_PERM_WRITE,
                                              ble_rd, ble_wr, &cdata),
                       BT_GATT_CCC(clear_ccc_cfg_changed,
                                   BT_GATT_PERM_READ | BT_GATT_PERM_WRITE),);


BT_GATT_SERVICE_DEFINE(dac,
                       BT_GATT_PRIMARY_SERVICE(BT_DAC_UUID_BASE),
                       BT_GATT_CHARACTERISTIC(BT_UUID_DAC,
                                              BT_GATT_CHRC_READ | BT_GATT_CHRC_WRITE | BT_GATT_CHRC_NOTIFY,
                                              BT_GATT_PERM_READ | BT_GATT_PERM_WRITE,
                                              ble_rd, dac_wr, &dac_output),);




int temp_notify(void)
{
    if (!temp_notify_enabled)
    {
        return -EACCES;
    }

    return bt_gatt_notify(NULL, &ess_svc.attrs[2],
                          &ble_temp,
                          sizeof(ble_temp));
}

int hum_notify(void)
{
    if (!hum_notify_enabled)
    {
        return -EACCES;
    }

    return bt_gatt_notify(NULL, &ess_svc.attrs[4],
                          &ble_hum,
                          sizeof(ble_hum));
}

int red_notify(void)
{
    if (!red_notify_enabled)
    {
        return -EACCES;
    }

    return bt_gatt_notify(NULL, &ess_svc.attrs[4],
                          &red,
                          sizeof(red));
}

int blue_notify(void)
{
    if (!blue_notify_enabled)
    {
        return -EACCES;
    }

    return bt_gatt_notify(NULL, &ess_svc.attrs[4],
                          &blue,
                          sizeof(blue));
}

int green_notify(void)
{
    if (!green_notify_enabled)
    {
        return -EACCES;
    }

    return bt_gatt_notify(NULL, &ess_svc.attrs[4],
                          &green,
                          sizeof(green));
}

int clear_notify(void)
{
    if (!clear_notify_enabled)
    {
        return -EACCES;
    }

    return bt_gatt_notify(NULL, &ess_svc.attrs[4],
                          &cdata,
                          sizeof(cdata));
}
```

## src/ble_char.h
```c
#ifdef __cplusplus
extern "C" {
#endif

#include <zephyr/types.h>


#define BT_UUID_COLOUR_VAL 0x1235
/**
 *  @brief Environmental Sensing Service
 */
#define BT_COLUR_UUID_BASE \
	BT_UUID_DECLARE_16(BT_UUID_COLOUR_VAL)

#define BT_UUID_DAC_VAL 0x1240
/**
 *  @brief Environmental Sensing Service
 */
#define BT_DAC_UUID_BASE \
	BT_UUID_DECLARE_16(BT_UUID_DAC_VAL)



#define ESS_UUID_BASE         BT_UUID_DECLARE_16(0x181A)


#define BT_UUID_TIMER_VAL 0x1234

#define BT_UUID_RED_V 0x1236

#define BT_UUID_GREEN_V 0x1237

#define BT_UUID_BLUE_V 0x1238

#define BT_UUID_CLEAR_V 0x1239

#define BT_UUID_DAC_V 0x1241

#define BT_UUID_TIMER \
	BT_UUID_DECLARE_16(BT_UUID_TIMER_VAL)

#define BT_UUID_RED \
	BT_UUID_DECLARE_16(BT_UUID_RED_V)

#define BT_UUID_GREEN \
	BT_UUID_DECLARE_16(BT_UUID_GREEN_V)

#define BT_UUID_BLUE \
	BT_UUID_DECLARE_16(BT_UUID_BLUE_V)

#define BT_UUID_CLEAR \
	BT_UUID_DECLARE_16(BT_UUID_CLEAR_V)

#define BT_UUID_DAC \
	BT_UUID_DECLARE_16(BT_UUID_DAC_V)



#ifdef __cplusplus
}
#endif

void MEASURE_TEMPERATURE_NO_HOLD_MASTER_MODE (void);
void MEASURE_RELATIVE_HUMIDITY_NO_HOLD_MASTER_MODE (void);
void si7006(void);
```

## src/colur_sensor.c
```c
#include <zephyr/kernel.h>
#include <zephyr/device.h>
#include <zephyr/devicetree.h>
#include <zephyr/drivers/i2c.h>
#include <zephyr/sys/printk.h>


#define Slave_Addr 0x38

#define BH1745_SA_LOW 0x38

#define MODE_CONTROL2 0x42

#define MODE_CONTROL3 0x44



extern uint8_t red;
extern uint8_t green;
extern uint8_t blue;
extern uint8_t cdata;




#define I2C_NODE DT_NODELABEL(colour_sen)
 struct i2c_dt_spec dev_i2c = I2C_DT_SPEC_GET(I2C_NODE);

uint8_t cs_i2c_read(uint8_t slaveAddr, uint8_t regAddr)
{
	uint8_t data;
	i2c_write_read_dt(&dev_i2c, &regAddr, sizeof(regAddr), &data, sizeof(data));
	return data;
}


void cs_i2c_write(uint8_t slaveAddr, uint8_t regAddr,uint8_t value1 )
{
	uint8_t buf[2];

	buf[0] = regAddr;
	buf[1] = value1;
	 i2c_write_dt(&dev_i2c, buf, sizeof(buf));
	return ;
}

void intital(void)
{
	cs_i2c_write(BH1745_SA_LOW , 0x41, 0x00); //default time set 160 sec 
	// uint16_t value_0x41 = cs_i2c_read(0x38, 0x41);
	// 	printk("0x41 : %x \n",value_0x41);
	cs_i2c_write(BH1745_SA_LOW , MODE_CONTROL2, 0x10); // enable rgbc 
	// int16_t value_0x42 = cs_i2c_read(0x38, 0x42);
	// 	printk("0x42 : %x \n",value_0x42);
	cs_i2c_write(BH1745_SA_LOW , MODE_CONTROL3, 0x02); //default value for mc3
	// int16_t value_0x44 = cs_i2c_read(0x38, 0x44);
	// 	printk("0x44 : %x \n",value_0x44);
	k_sleep(K_MSEC(500));
}




void RGB_DATA_FOR_READ(void)
{


	/* IF WE WANT TO READ RGBC
	 *
	 *       MODE_CONTROL_3:
	 *                      we have to write 0x02 in mode control 3
	 *
	 *              WE HAVE TO CALL THIS FUNCTION "   MODE_CONTROL3(); " BEFORE CALL " RGB_DATA_FOR_READ(); "
	 *
	 *        RGBC_ENABLE:
	 *                    we have to enable RGBC
	 *
	 *              WE HAVE TO CALL THIS FUNCTION "  RGBC_ENABLE ();" BEFORE CALL " RGB_DATA_FOR_READ(); "
	 *
	 */


	int data1 = cs_i2c_read(0x38, 0x50);
//    printf("RED_DATA_LBS: 0x%02x \n", data1);

    int data2 = cs_i2c_read(0x38, 0x51);
//    printf("RED_DATA_MBS: 0x%02x \n", data2);

    int data3 = cs_i2c_read(0x38, 0x52);
//    printf("GREEN_DATA_LBS: 0x%02x \n", data3);

    int data4 = cs_i2c_read(0x38, 0x53);
    // printf("GREEN_DATA_MBS: 0x%02x \n", data4);

    int data5 = cs_i2c_read(0x38, 0x54);
//    printf("BLUE_DATA_LBS: 0x%02x \n", data5);

    int data6 = cs_i2c_read(0x38, 0x55);
//    printf("BLUE_DATA_MBS: 0x%02x \n", data6);

    int data7 = cs_i2c_read(0x38, 0x56);
//    printf("CLEAR_DATA_LBS: 0x%02x \n", data7);

    int data8 = cs_i2c_read(0x38, 0x57);
//    printf("CLEAR_DATA_MBS: 0x%02x \n", data8);


    red = ((data2 * 256 )+ data1);
	green = ((data4 * 256) + data3);
   	blue = ((data6 * 256 )+ data5);
   	cdata = ((data8 * 256 )+ data7);


  	printf("Red color luminance : %d lux \n", red);
   	printf("Green color luminance : %d lux \n", green);
    printf("Blue color luminance : %d lux \n", blue);
    printf("Clear Data  Luminance : %d lux \n ", cdata);

}

 


void colour(void)
{
 if (!device_is_ready(dev_i2c.bus))
	{
		printk("I2C bus %s is not ready!\n\r", dev_i2c.bus->name);
		return;
	}
		cs_i2c_write(BH1745_SA_LOW , 0x40, 0x4b);
		// uint16_t value_0x40 = cs_i2c_read(0x38, 0x40);
		// printk("0x40 : %x \n",value_0x40);
		intital();
		// getManufacturerId(600);


}
```
